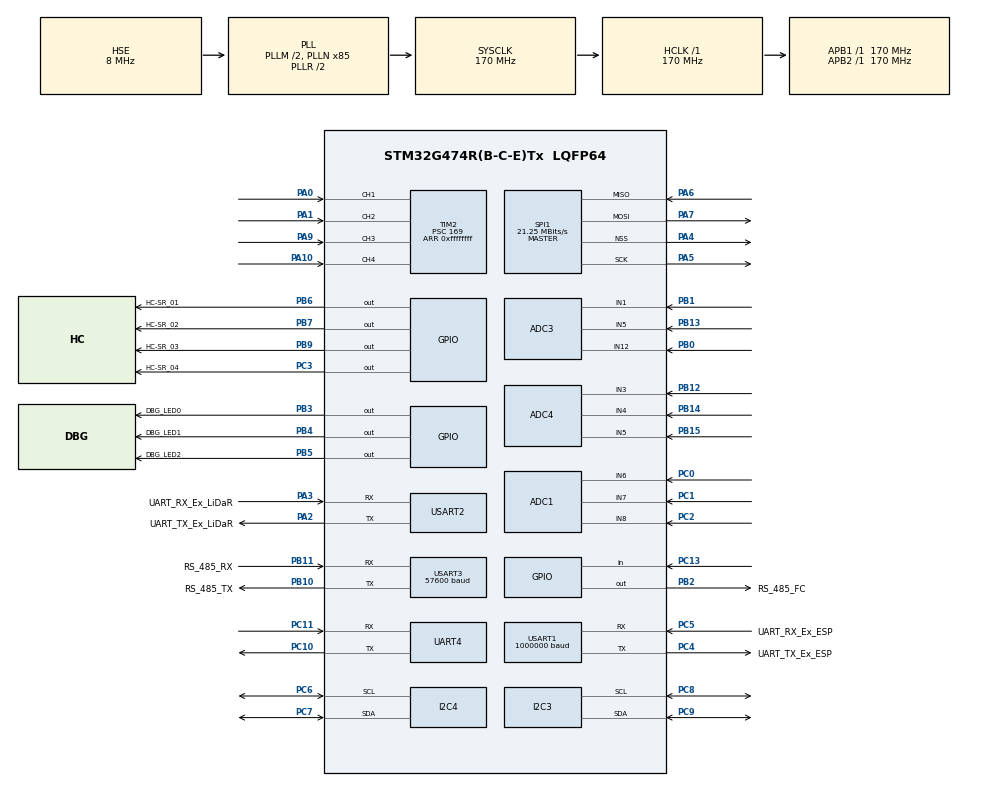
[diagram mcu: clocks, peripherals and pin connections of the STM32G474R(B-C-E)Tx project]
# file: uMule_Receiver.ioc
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ADC1.Channel-0\#ChannelRegularConversion=ADC_CHANNEL_6
ADC1.Channel-1\#ChannelRegularConversion=ADC_CHANNEL_7
ADC1.Channel-2\#ChannelRegularConversion=ADC_CHANNEL_8
ADC1.ClockPrescaler=ADC_CLOCK_SYNC_PCLK_DIV4
ADC1.ContinuousConvMode=DISABLE
ADC1.DMAContinuousRequests=ENABLE
ADC1.EOCSelection=ADC_EOC_SINGLE_CONV
ADC1.EnableInjectedConversion=DISABLE
ADC1.ExternalTrigConv=ADC_EXTERNALTRIG_T3_TRGO
ADC1.NbrOfConversion=3
ADC1.NbrOfConversionFlag=1
ADC1.OffsetNumber-0\#ChannelRegularConversion=ADC_OFFSET_NONE
ADC1.OffsetNumber-1\#ChannelRegularConversion=ADC_OFFSET_NONE
ADC1.OffsetNumber-2\#ChannelRegularConversion=ADC_OFFSET_NONE
ADC1.Rank-0\#ChannelRegularConversion=1
ADC1.Rank-1\#ChannelRegularConversion=2
ADC1.Rank-2\#ChannelRegularConversion=3
ADC1.SamplingTime-0\#ChannelRegularConversion=ADC_SAMPLETIME_2CYCLES_5
ADC1.SamplingTime-1\#ChannelRegularConversion=ADC_SAMPLETIME_2CYCLES_5
ADC1.SamplingTime-2\#ChannelRegularConversion=ADC_SAMPLETIME_2CYCLES_5
ADC1.master=1
ADC3.Channel-1\#ChannelRegularConversion=ADC_CHANNEL_1
ADC3.Channel-2\#ChannelRegularConversion=ADC_CHANNEL_5
ADC3.Channel-3\#ChannelRegularConversion=ADC_CHANNEL_12
ADC3.ClockPrescaler=ADC_CLOCK_SYNC_PCLK_DIV4
ADC3.DMAContinuousRequests=ENABLE
ADC3.ExternalTrigConv=ADC_EXTERNALTRIG_T3_TRGO
ADC3.NbrOfConversion=3
ADC3.NbrOfConversionFlag=1
ADC3.OffsetNumber-1\#ChannelRegularConversion=ADC_OFFSET_NONE
ADC3.OffsetNumber-2\#ChannelRegularConversion=ADC_OFFSET_NONE
ADC3.OffsetNumber-3\#ChannelRegularConversion=ADC_OFFSET_NONE
ADC3.Rank-1\#ChannelRegularConversion=1
ADC3.Rank-2\#ChannelRegularConversion=2
ADC3.Rank-3\#ChannelRegularConversion=3
ADC3.SamplingTime-1\#ChannelRegularConversion=ADC_SAMPLETIME_2CYCLES_5
ADC3.SamplingTime-2\#ChannelRegularConversion=ADC_SAMPLETIME_2CYCLES_5
ADC3.SamplingTime-3\#ChannelRegularConversion=ADC_SAMPLETIME_2CYCLES_5
ADC3.master=1
ADC4.Channel-0\#ChannelRegularConversion=ADC_CHANNEL_3
ADC4.Channel-1\#ChannelRegularConversion=ADC_CHANNEL_4
ADC4.Channel-2\#ChannelRegularConversion=ADC_CHANNEL_5
ADC4.ClockPrescaler=ADC_CLOCK_SYNC_PCLK_DIV4
ADC4.DMAContinuousRequests=ENABLE
ADC4.NbrOfConversion=3
ADC4.NbrOfConversionFlag=1
ADC4.OffsetNumber-0\#ChannelRegularConversion=ADC_OFFSET_NONE
ADC4.OffsetNumber-1\#ChannelRegularConversion=ADC_OFFSET_NONE
ADC4.OffsetNumber-2\#ChannelRegularConversion=ADC_OFFSET_NONE
ADC4.Rank-0\#ChannelRegularConversion=1
ADC4.Rank-1\#ChannelRegularConversion=2
ADC4.Rank-2\#ChannelRegularConversion=3
ADC4.SamplingTime-0\#ChannelRegularConversion=ADC_SAMPLETIME_2CYCLES_5
ADC4.SamplingTime-1\#ChannelRegularConversion=ADC_SAMPLETIME_2CYCLES_5
ADC4.SamplingTime-2\#ChannelRegularConversion=ADC_SAMPLETIME_2CYCLES_5
Dma.ADC1.0.Direction=DMA_PERIPH_TO_MEMORY
Dma.ADC1.0.EventEnable=DISABLE
Dma.ADC1.0.Instance=DMA1_Channel1
Dma.ADC1.0.MemDataAlignment=DMA_MDATAALIGN_HALFWORD
Dma.ADC1.0.MemInc=DMA_MINC_ENABLE
Dma.ADC1.0.Mode=DMA_CIRCULAR
Dma.ADC1.0.PeriphDataAlignment=DMA_PDATAALIGN_HALFWORD
Dma.ADC1.0.PeriphInc=DMA_PINC_DISABLE
Dma.ADC1.0.Polarity=HAL_DMAMUX_REQ_GEN_RISING
Dma.ADC1.0.Priority=DMA_PRIORITY_LOW
Dma.ADC1.0.RequestNumber=1
Dma.ADC1.0.SignalID=NONE
Dma.ADC1.0.SyncEnable=ENABLE
Dma.ADC1.0.SyncPolarity=HAL_DMAMUX_SYNC_RISING
Dma.ADC1.0.SyncRequestNumber=1
Dma.ADC1.0.SyncSignalID=NONE
Dma.ADC3.1.Direction=DMA_PERIPH_TO_MEMORY
Dma.ADC3.1.EventEnable=DISABLE
Dma.ADC3.1.Instance=DMA1_Channel2
Dma.ADC3.1.MemDataAlignment=DMA_MDATAALIGN_HALFWORD
Dma.ADC3.1.MemInc=DMA_MINC_ENABLE
Dma.ADC3.1.Mode=DMA_CIRCULAR
Dma.ADC3.1.PeriphDataAlignment=DMA_PDATAALIGN_HALFWORD
Dma.ADC3.1.PeriphInc=DMA_PINC_DISABLE
Dma.ADC3.1.Polarity=HAL_DMAMUX_REQ_GEN_RISING
Dma.ADC3.1.Priority=DMA_PRIORITY_LOW
Dma.ADC3.1.RequestNumber=1
Dma.ADC3.1.SignalID=NONE
Dma.ADC3.1.SyncEnable=DISABLE
Dma.ADC3.1.SyncPolarity=HAL_DMAMUX_SYNC_NO_EVENT
Dma.ADC3.1.SyncRequestNumber=1
Dma.ADC3.1.SyncSignalID=NONE
Dma.ADC4.2.Direction=DMA_PERIPH_TO_MEMORY
Dma.ADC4.2.EventEnable=DISABLE
Dma.ADC4.2.Instance=DMA1_Channel3
Dma.ADC4.2.MemDataAlignment=DMA_MDATAALIGN_HALFWORD
Dma.ADC4.2.MemInc=DMA_MINC_ENABLE
Dma.ADC4.2.Mode=DMA_CIRCULAR
Dma.ADC4.2.PeriphDataAlignment=DMA_PDATAALIGN_HALFWORD
Dma.ADC4.2.PeriphInc=DMA_PINC_DISABLE
Dma.ADC4.2.Polarity=HAL_DMAMUX_REQ_GEN_RISING
Dma.ADC4.2.Priority=DMA_PRIORITY_LOW
Dma.ADC4.2.RequestNumber=1
Dma.ADC4.2.SignalID=NONE
Dma.ADC4.2.SyncEnable=DISABLE
Dma.ADC4.2.SyncPolarity=HAL_DMAMUX_SYNC_NO_EVENT
Dma.ADC4.2.SyncRequestNumber=1
Dma.ADC4.2.SyncSignalID=NONE
Dma.Request0=ADC1
Dma.Request1=ADC3
Dma.Request2=ADC4
Dma.Request3=USART1_RX
Dma.Request4=USART1_TX
Dma.USART1_RX.3.Direction=DMA_PERIPH_TO_MEMORY
Dma.USART1_RX.3.EventEnable=DISABLE
Dma.USART1_RX.3.Instance=DMA1_Channel4
Dma.USART1_RX.3.MemDataAlignment=DMA_MDATAALIGN_BYTE
Dma.USART1_RX.3.MemInc=DMA_MINC_ENABLE
Dma.USART1_RX.3.Mode=DMA_CIRCULAR
Dma.USART1_RX.3.PeriphDataAlignment=DMA_PDATAALIGN_BYTE
Dma.USART1_RX.3.PeriphInc=DMA_PINC_DISABLE
Dma.USART1_RX.3.Polarity=HAL_DMAMUX_REQ_GEN_RISING
Dma.USART1_RX.3.Priority=DMA_PRIORITY_VERY_HIGH
Dma.USART1_RX.3.RequestNumber=1
Dma.USART1_RX.3.SignalID=NONE
Dma.USART1_RX.3.SyncEnable=DISABLE
Dma.USART1_RX.3.SyncPolarity=HAL_DMAMUX_SYNC_NO_EVENT
Dma.USART1_RX.3.SyncRequestNumber=1
Dma.USART1_RX.3.SyncSignalID=NONE
Dma.USART1_TX.4.Direction=DMA_MEMORY_TO_PERIPH
Dma.USART1_TX.4.EventEnable=DISABLE
Dma.USART1_TX.4.Instance=DMA1_Channel5
Dma.USART1_TX.4.MemDataAlignment=DMA_MDATAALIGN_BYTE
Dma.USART1_TX.4.MemInc=DMA_MINC_ENABLE
Dma.USART1_TX.4.Mode=DMA_NORMAL
Dma.USART1_TX.4.PeriphDataAlignment=DMA_PDATAALIGN_BYTE
Dma.USART1_TX.4.PeriphInc=DMA_PINC_DISABLE
Dma.USART1_TX.4.Polarity=HAL_DMAMUX_REQ_GEN_RISING
Dma.USART1_TX.4.Priority=DMA_PRIORITY_VERY_HIGH
Dma.USART1_TX.4.RequestNumber=1
Dma.USART1_TX.4.SignalID=NONE
Dma.USART1_TX.4.SyncEnable=DISABLE
Dma.USART1_TX.4.SyncPolarity=HAL_DMAMUX_SYNC_NO_EVENT
Dma.USART1_TX.4.SyncRequestNumber=1
Dma.USART1_TX.4.SyncSignalID=NONE
FREERTOS.Tasks01=defaultTask,24,3000,StartDefaultTask,Default,NULL,Static,defaultTaskBuffer,defaultTaskControlBlock
FREERTOS.configENABLE_FPU=1
FREERTOS.configTOTAL_HEAP_SIZE=40000
FREERTOS.configUSE_NEWLIB_REENTRANT=1
I2C3.Timing=0x40B285C2
I2C4.Timing=0x40B285C2
Mcu.Family=STM32G4
Mcu.Name=STM32G474R(B-C-E)Tx
Mcu.Package=LQFP64
NVIC.DMA1_Channel1_IRQn=true\:5\:0\:false\:false\:true\:true\:false\:true\:true
NVIC.DMA1_Channel2_IRQn=true\:5\:0\:false\:false\:true\:true\:false\:true\:true
NVIC.DMA1_Channel3_IRQn=true\:5\:0\:false\:false\:true\:true\:false\:true\:true
NVIC.DMA1_Channel4_IRQn=true\:5\:0\:false\:false\:true\:true\:false\:true\:true
NVIC.DMA1_Channel5_IRQn=true\:5\:0\:false\:false\:true\:true\:false\:true\:true
NVIC.DMAMUX_OVR_IRQn=true\:5\:0\:false\:false\:true\:true\:false\:true\:true
NVIC.PriorityGroup=NVIC_PRIORITYGROUP_4
NVIC.TIM1_UP_TIM16_IRQn=true\:15\:0\:false\:false\:true\:false\:false\:true\:true
NVIC.TIM2_IRQn=true\:5\:0\:false\:false\:true\:true\:true\:true\:true
NVIC.TIM6_DAC_IRQn=true\:5\:0\:false\:false\:true\:true\:true\:true\:true
NVIC.TimeBase=TIM1_UP_TIM16_IRQn
NVIC.TimeBaseIP=TIM1
NVIC.USART1_IRQn=true\:5\:0\:false\:false\:true\:true\:true\:true\:true
NVIC.USART3_IRQn=true\:5\:0\:false\:false\:true\:true\:true\:true\:true
PA0.Signal=S_TIM2_CH1
PA1.Signal=S_TIM2_CH2
PA10.Signal=S_TIM2_CH4
PA2.GPIO_Label=UART_TX_Ex_LiDaR
PA2.Mode=Asynchronous
PA2.Signal=USART2_TX
PA3.GPIO_Label=UART_RX_Ex_LiDaR
PA3.Mode=Asynchronous
PA3.Signal=USART2_RX
PA4.Mode=NSS_Signal_Hard_Output
PA4.Signal=SPI1_NSS
PA5.Mode=Full_Duplex_Master
PA5.Signal=SPI1_SCK
PA6.Mode=Full_Duplex_Master
PA6.Signal=SPI1_MISO
PA7.Mode=Full_Duplex_Master
PA7.Signal=SPI1_MOSI
PA9.Signal=S_TIM2_CH3
PB0.Mode=IN12-Single-Ended
PB0.Signal=ADC3_IN12
PB1.Mode=IN1-Single-Ended
PB1.Signal=ADC3_IN1
PB10.GPIO_Label=RS_485_TX
PB10.Mode=Asynchronous
PB10.Signal=USART3_TX
PB11.GPIO_Label=RS_485_RX
PB11.Mode=Asynchronous
PB11.Signal=USART3_RX
PB12.Mode=IN3-Single-Ended
PB12.Signal=ADC4_IN3
PB13.Mode=IN5-Single-Ended
PB13.Signal=ADC3_IN5
PB14.Mode=IN4-Single-Ended
PB14.Signal=ADC4_IN4
PB15.Mode=IN5-Single-Ended
PB15.Signal=ADC4_IN5
PB2.GPIO_Label=RS_485_FC
PB2.GPIO_PuPd=GPIO_PULLUP
PB2.GPIO_Speed=GPIO_SPEED_FREQ_HIGH
PB2.Signal=GPIO_Output
PB3.GPIO_Label=DBG_LED0
PB3.Signal=GPIO_Output
PB4.GPIO_Label=DBG_LED1
PB4.Signal=GPIO_Output
PB5.GPIO_Label=DBG_LED2
PB5.Signal=GPIO_Output
PB6.GPIO_Label=HC-SR_01
PB6.Signal=GPIO_Output
PB7.GPIO_Label=HC-SR_02
PB7.Signal=GPIO_Output
PB9.GPIO_Label=HC-SR_03
PB9.Signal=GPIO_Output
PC0.Mode=IN6-Single-Ended
PC0.Signal=ADC1_IN6
PC1.Mode=IN7-Single-Ended
PC1.Signal=ADC1_IN7
PC10.Mode=Asynchronous
PC10.Signal=UART4_TX
PC11.Mode=Asynchronous
PC11.Signal=UART4_RX
PC13.Signal=GPIO_Input
PC2.Mode=IN8-Single-Ended
PC2.Signal=ADC1_IN8
PC3.GPIO_Label=HC-SR_04
PC3.Signal=GPIO_Output
PC4.GPIO_Label=UART_TX_Ex_ESP
PC4.Mode=Asynchronous
PC4.Signal=USART1_TX
PC5.GPIO_Label=UART_RX_Ex_ESP
PC5.Mode=Asynchronous
PC5.Signal=USART1_RX
PC6.Mode=I2C
PC6.Signal=I2C4_SCL
PC7.Mode=I2C
PC7.Signal=I2C4_SDA
PC8.Mode=I2C
PC8.Signal=I2C3_SCL
PC9.Mode=I2C
PC9.Signal=I2C3_SDA
PF0-OSC_IN.Mode=HSE-External-Oscillator
PF0-OSC_IN.Signal=RCC_OSC_IN
PF1-OSC_OUT.Mode=HSE-External-Oscillator
PF1-OSC_OUT.Signal=RCC_OSC_OUT
ProjectManager.HeapSize=0x200
ProjectManager.StackSize=0x400
ProjectManager.TargetToolchain=STM32CubeIDE
RCC.ADC12Freq_Value=170000000
RCC.ADC345Freq_Value=170000000
RCC.AHBFreq_Value=170000000
RCC.APB1Freq_Value=170000000
RCC.APB1TimFreq_Value=170000000
RCC.APB2Freq_Value=170000000
RCC.APB2TimFreq_Value=170000000
RCC.CortexFreq_Value=170000000
RCC.EXTERNAL_CLOCK_VALUE=12288000
RCC.HCLKFreq_Value=170000000
RCC.HSE_VALUE=8000000
RCC.HSI48_VALUE=48000000
RCC.HSI_VALUE=16000000
RCC.LSE_VALUE=32768
RCC.PLLM=RCC_PLLM_DIV2
RCC.PLLN=85
RCC.PLLSourceVirtual=RCC_PLLSOURCE_HSE
RCC.SYSCLKFreq_VALUE=170000000
RCC.SYSCLKSource=RCC_SYSCLKSOURCE_PLLCLK
RCC.USBFreq_Value=170000000
RCC.VCOOutputFreq_Value=340000000
SH.S_TIM2_CH1.0=TIM2_CH1,Input_Capture1_from_TI1
SH.S_TIM2_CH2.0=TIM2_CH2,Input_Capture2_from_TI2
SH.S_TIM2_CH3.0=TIM2_CH3,Input_Capture3_from_TI3
SH.S_TIM2_CH4.0=TIM2_CH4,Input_Capture4_from_TI4
SPI1.BaudRatePrescaler=SPI_BAUDRATEPRESCALER_8
SPI1.CalculateBaudRate=21.25 MBits/s
SPI1.Direction=SPI_DIRECTION_2LINES
SPI1.Mode=SPI_MODE_MASTER
SPI1.VirtualNSS=VM_NSSHARD
SPI1.VirtualType=VM_MASTER
TIM2.Channel-Input_Capture1_from_TI1=TIM_CHANNEL_1
TIM2.Channel-Input_Capture2_from_TI2=TIM_CHANNEL_2
TIM2.Channel-Input_Capture3_from_TI3=TIM_CHANNEL_3
TIM2.Channel-Input_Capture4_from_TI4=TIM_CHANNEL_4
TIM2.PeriodNoDither=0xffffffff
TIM2.Prescaler=169
TIM2.TIM_MasterOutputTrigger=TIM_TRGO_UPDATE
TIM3.Channel-PWM\ Generation1\ No\ Output=TIM_CHANNEL_1
TIM3.PeriodNoDither=100
TIM3.Prescaler=0
TIM3.TIM_MasterOutputTrigger=TIM_TRGO_UPDATE
TIM6.PeriodNoDither=9
TIM6.Prescaler=169
TIM6.TIM_MasterOutputTrigger=TIM_TRGO_UPDATE
USART1.BaudRate=1000000
USART1.VirtualMode-Asynchronous=VM_ASYNC
USART2.VirtualMode-Asynchronous=VM_ASYNC
USART3.BaudRate=57600
USART3.VirtualMode-Asynchronous=VM_ASYNC
VP_FREERTOS_VS_CMSIS_V2.Mode=CMSIS_V2
VP_SYS_VS_DBSignals.Mode=DisableDeadBatterySignals
VP_SYS_VS_tim1.Mode=TIM1
VP_TIM2_VS_ClockSourceINT.Mode=Internal
VP_TIM3_VS_ClockSourceINT.Mode=Internal
VP_TIM3_VS_no_output1.Mode=PWM Generation1 No Output
VP_TIM6_VS_ClockSourceINT.Mode=Enable_Timer
VP_TIM6_VS_OPM.Mode=OPM_bit
board=custom

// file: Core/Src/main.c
/* USER CODE BEGIN Header */
/**
  ******************************************************************************
  * @file           : main.c
  * @brief          : Main program body
  ******************************************************************************
  * @attention
  *
  * Copyright (c) 2026 STMicroelectronics.
  * All rights reserved.
  *
  * This software is licensed under terms that can be found in the LICENSE file
  * in the root directory of this software component.
  * If no LICENSE file comes with this software, it is provided AS-IS.
  *
  ******************************************************************************
  */
/* USER CODE END Header */
#include "main.h"
#include "cmsis_os.h"
#include "adc.h"
#include "dma.h"
#include "i2c.h"
#include "spi.h"
#include "tim.h"
#include "usart.h"
#include "gpio.h"

/* USER CODE BEGIN Includes */
#define ARM_MATH_CM4
#include <stdio.h>
#include <string.h>
#include "arm_math.h"
#include "sonar_task.h"   /* Sonar_IC_Callback, Sonar_PeriodElapsed_Callback */

/* USER CODE END Includes */

void SystemClock_Config(void);
void MX_FREERTOS_Init(void);
/* USER CODE BEGIN PFP */
void UART4_Print(uint8_t* Message);
/* USER CODE END PFP */

/* USER CODE BEGIN 0 */

int __io_putchar(int ch)
{
  if (ch == '\n') {
    __io_putchar('\r');
  }
  HAL_UART_Transmit(&huart4, (uint8_t*)&ch, 1, 10);
  return 1;
}

/* USER CODE END 0 */

int main(void)
{

  /* MCU Configuration--------------------------------------------------------*/

  /* Reset of all peripherals, Initializes the Flash interface and the Systick. */
  HAL_Init();

  /* Configure the system clock */
  SystemClock_Config();

  /* Initialize all configured peripherals */
  MX_GPIO_Init();
  MX_DMA_Init();
  MX_ADC1_Init();
  MX_ADC3_Init();
  MX_ADC4_Init();
  MX_I2C3_Init();
  MX_I2C4_Init();
  MX_SPI1_Init();
  MX_UART4_Init();
  MX_USART1_UART_Init();
  MX_USART2_UART_Init();
  MX_USART3_UART_Init();
  MX_TIM3_Init();
  MX_TIM2_Init();
  MX_TIM6_Init();
  /* USER CODE BEGIN 2 */

  UART4_Print((uint8_t*)"Peripherals OK. Starting RTOS...\n");

  /* USER CODE END 2 */

  /* Init scheduler */
  osKernelInitialize();  /* Call init function for freertos objects (in cmsis_os2.c) */
  MX_FREERTOS_Init();

  /* Start scheduler */
  osKernelStart();

  /* We should never get here as control is now taken by the scheduler */

  /* Infinite loop */
  while (1)
  {

  }
}

void SystemClock_Config(void)
{
  RCC_OscInitTypeDef RCC_OscInitStruct = {0};
  RCC_ClkInitTypeDef RCC_ClkInitStruct = {0};

  /** Configure the main internal regulator output voltage
  */
  HAL_PWREx_ControlVoltageScaling(PWR_REGULATOR_VOLTAGE_SCALE1_BOOST);

  /** Initializes the RCC Oscillators according to the specified parameters
  * in the RCC_OscInitTypeDef structure.
  */
  RCC_OscInitStruct.OscillatorType = RCC_OSCILLATORTYPE_HSE;
  RCC_OscInitStruct.HSEState = RCC_HSE_ON;
  RCC_OscInitStruct.PLL.PLLState = RCC_PLL_ON;
  RCC_OscInitStruct.PLL.PLLSource = RCC_PLLSOURCE_HSE;
  RCC_OscInitStruct.PLL.PLLM = RCC_PLLM_DIV2;
  RCC_OscInitStruct.PLL.PLLN = 85;
  RCC_OscInitStruct.PLL.PLLP = RCC_PLLP_DIV2;
  RCC_OscInitStruct.PLL.PLLQ = RCC_PLLQ_DIV2;
  RCC_OscInitStruct.PLL.PLLR = RCC_PLLR_DIV2;
  if (HAL_RCC_OscConfig(&RCC_OscInitStruct) != HAL_OK)
  {
    Error_Handler();
  }

  /** Initializes the CPU, AHB and APB buses clocks
  */
  RCC_ClkInitStruct.ClockType = RCC_CLOCKTYPE_HCLK|RCC_CLOCKTYPE_SYSCLK
                              |RCC_CLOCKTYPE_PCLK1|RCC_CLOCKTYPE_PCLK2;
  RCC_ClkInitStruct.SYSCLKSource = RCC_SYSCLKSOURCE_PLLCLK;
  RCC_ClkInitStruct.AHBCLKDivider = RCC_SYSCLK_DIV1;
  RCC_ClkInitStruct.APB1CLKDivider = RCC_HCLK_DIV1;
  RCC_ClkInitStruct.APB2CLKDivider = RCC_HCLK_DIV1;

  if (HAL_RCC_ClockConfig(&RCC_ClkInitStruct, FLASH_LATENCY_4) != HAL_OK)
  {
    Error_Handler();
  }
}

/* USER CODE BEGIN 4 */

void UART4_Print(uint8_t* Message)
{
	HAL_UART_Transmit(&huart4, Message, strlen((char*)Message), 100);
}

/* USER CODE BEGIN 4 */
void HAL_TIM_IC_CaptureCallback(TIM_HandleTypeDef *htim)
{
    Sonar_IC_Callback(htim, htim->Channel);
}
/* USER CODE END 4 */

void HAL_TIM_PeriodElapsedCallback(TIM_HandleTypeDef *htim)
{
  if (htim->Instance == TIM1)
  {
    HAL_IncTick();
  }
  /* USER CODE BEGIN Callback 1 */
  Sonar_PeriodElapsed_Callback(htim);
  /* USER CODE END Callback 1 */
}

void Error_Handler(void)
{
  __disable_irq();
  while (1)
  {
  }
}

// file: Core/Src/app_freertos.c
/* app_freertos.c
 *
 * micro-ROS task:
 * - Subskrybuje /wheel_commands (sensor_msgs/JointState) od topic_based_ros2_control
 * - Wysyla komendy predkosci do Dynamixeli przez kolejke FreeRTOS
 * - Publikuje /wheel_states (sensor_msgs/JointState) co ~100ms
 *
 * Kolejnosc jointow: [0]=left_wheel_joint, [1]=right_wheel_joint
 */

#include "FreeRTOS.h"
#include "task.h"
#include "main.h"
#include "cmsis_os.h"
#include "cmsis_os2.h"   /* osStaticThreadDef_t i pozostale typy CMSIS-RTOS v2 ze static allocation */

#include <stdbool.h>
#include <string.h>
#include <math.h>

#include <rcl/rcl.h>
#include <rcl/error_handling.h>
#include <rclc/rclc.h>
#include <rclc/executor.h>
#include <uxr/client/transport.h>
#include <rmw_microxrcedds_c/config.h>
#include <rmw_microros/rmw_microros.h>

#include <sensor_msgs/msg/joint_state.h>
#include <sensor_msgs/msg/imu.h>
#include <sensor_msgs/msg/magnetic_field.h>
#include <sensor_msgs/msg/range.h>
#include <std_msgs/msg/float32_multi_array.h>

#include "usart.h"
#include "dxl_control.h"
#include "imu_task.h"
#include "ina219_task.h"
#include "sonar_task.h"

// ---------------------------------------------------------------------------
// KONFIGURACJA SIECI
// ROS_DOMAIN_ID - musi byc identyczne jak na komputerze hosta (export ROS_DOMAIN_ID=...)
// ---------------------------------------------------------------------------
#ifndef ROS_DOMAIN_ID
#define ROS_DOMAIN_ID   0       // <-- zmien na wartosc z `echo $ROS_DOMAIN_ID` na PC
#endif

// ---------------------------------------------------------------------------
// Parametry kinematyki robota
// Musza byc IDENTYCZNE z my_controllers.yaml i ros2_control.xacro
// ---------------------------------------------------------------------------
#define WHEEL_SEPARATION_M   0.30f
#define WHEEL_RADIUS_M       0.08f
#define MAX_RPM              97.0f
#define RPM_TO_RAD_S         (2.0f * 3.14159265f / 60.0f)
#define MAX_WHEEL_RAD_S      (MAX_RPM * RPM_TO_RAD_S)   // ~11.94 rad/s
#define DXL_UNIT_TO_RAD_S   (0.111f * RPM_TO_RAD_S)     // 1 unit RX-64 = 0.111 RPM -> rad/s
#define DEG_TO_RAD           (3.14159265f / 180.0f)

static inline float clamp(float v, float lo, float hi) {
    return (v < lo) ? lo : (v > hi) ? hi : v;
}

// ---------------------------------------------------------------------------
// Statyczna alokacja wiadomosci JointState
// WAZNE: micro-ROS na embedded wymaga statycznej alokacji wszystkich buforow,
// bez tego rcl_publish/take moze hardfaultowac przy serializacji
// ---------------------------------------------------------------------------

/* --- SUBSCRIBER: /wheel_commands --- */
static sensor_msgs__msg__JointState      wheel_cmd_msg;
static rosidl_runtime_c__String          cmd_name_data[2];
static char                              cmd_name0_buf[32]      = "left_wheel_joint";
static char                              cmd_name1_buf[32]      = "right_wheel_joint";
static char                              cmd_frame_id_buf[32]   = {0};
static double                            cmd_position[2]   = {0.0, 0.0};
static double                            cmd_velocity[2]   = {0.0, 0.0};
static double                            cmd_effort[2]     = {0.0, 0.0};

/* --- PUBLISHER: /wheel_states --- */
static sensor_msgs__msg__JointState      wheel_state_msg;
static rosidl_runtime_c__String          state_name_data[2];
static char                              state_name0_buf[32]    = "left_wheel_joint";
static char                              state_name1_buf[32]    = "right_wheel_joint";
static char                              state_frame_id_buf[32] = "base_link";
static double                            state_position[2]   = {0.0, 0.0};
static double                            state_velocity[2]   = {0.0, 0.0};
static double                            state_effort[2]     = {0.0, 0.0};

/* --- PUBLISHER: /imu (sensor_msgs/Imu — accel + gyro z LSM6DS3TR-C) --- */
static sensor_msgs__msg__Imu             imu_msg;
static char                              imu_frame_id_buf[16] = "imu_link";

/* --- PUBLISHER: /mag (sensor_msgs/MagneticField — magnetometr LIS3MDL) ---
 * sensor_msgs/Imu nie zawiera pola magnetometru, dlatego mag = osobny topic. */
static sensor_msgs__msg__MagneticField   mag_msg;
static char                              mag_frame_id_buf[16] = "imu_link";

/* --- PUBLISHER: /power (std_msgs/Float32MultiArray — INA219) ---
 * data[0]=voltage_V, data[1]=current_A, data[2]=power_W */
static std_msgs__msg__Float32MultiArray  power_msg;
static float                             power_data_buf[3]   = {0.0f, 0.0f, 0.0f};

/* --- PUBLISHER: /STM_sonar_N (sensor_msgs/Range — HC-SR04 × 4) ---
 * Jeden publisher na sensor; NaN w range.range oznacza brak echa.
 * min_range=0.02 m, max_range=4.0 m, field_of_view~15° (spec HC-SR04) */
static sensor_msgs__msg__Range           sonar_msg[SONAR_COUNT];
static char sonar_frame_id_buf[SONAR_COUNT][16] = {
    "sonar_0", "sonar_1", "sonar_2", "sonar_3"
};

// ---------------------------------------------------------------------------
// Hooki wymagane przez configSUPPORT_STATIC_ALLOCATION = 1
// ---------------------------------------------------------------------------
void vApplicationGetIdleTaskMemory(StaticTask_t **ppxIdleTaskTCBBuffer,
                                   StackType_t **ppxIdleTaskStackBuffer,
                                   uint32_t *pulIdleTaskStackSize)
{
    static StaticTask_t xIdleTaskTCB;
    static StackType_t  uxIdleTaskStack[configMINIMAL_STACK_SIZE];
    *ppxIdleTaskTCBBuffer   = &xIdleTaskTCB;
    *ppxIdleTaskStackBuffer = uxIdleTaskStack;
    *pulIdleTaskStackSize   = configMINIMAL_STACK_SIZE;
}

void vApplicationGetTimerTaskMemory(StaticTask_t **ppxTimerTaskTCBBuffer,
                                    StackType_t **ppxTimerTaskStackBuffer,
                                    uint32_t *pulTimerTaskStackSize)
{
    static StaticTask_t xTimerTaskTCB;
    static StackType_t  uxTimerTaskStack[configTIMER_TASK_STACK_DEPTH];
    *ppxTimerTaskTCBBuffer   = &xTimerTaskTCB;
    *ppxTimerTaskStackBuffer = uxTimerTaskStack;
    *pulTimerTaskStackSize   = configTIMER_TASK_STACK_DEPTH;
}

// ---------------------------------------------------------------------------
// Pomocnicza inicjalizacja JointState
// Ustawia wszystkie pola sekwencji ORAZ header (frame_id i stamp).
// Bez inicjalizacji header.frame_id micro-ROS przy serializacji moze siegnac
// po niezainicjalizowany wskaznik => HardFault.
// ---------------------------------------------------------------------------
static void joint_state_msg_init(
    sensor_msgs__msg__JointState *msg,
    rosidl_runtime_c__String     *names,
    char *name0, char *name1,
    char *frame_id_buf, size_t frame_id_cap,
    double *pos, double *vel, double *eff)
{
    /* header */
    msg->header.frame_id.data     = frame_id_buf;
    msg->header.frame_id.size     = (frame_id_buf && frame_id_buf[0]) ? strlen(frame_id_buf) : 0;
    msg->header.frame_id.capacity = frame_id_cap;
    msg->header.stamp.sec     = 0;
    msg->header.stamp.nanosec = 0;

    /* names */
    names[0].data     = name0;
    names[0].size     = strlen(name0);
    names[0].capacity = 32;
    names[1].data     = name1;
    names[1].size     = strlen(name1);
    names[1].capacity = 32;
    msg->name.data     = names;
    msg->name.size     = 2;
    msg->name.capacity = 2;

    /* position / velocity / effort */
    msg->position.data     = pos;
    msg->position.size     = 2;
    msg->position.capacity = 2;

    msg->velocity.data     = vel;
    msg->velocity.size     = 2;
    msg->velocity.capacity = 2;

    msg->effort.data     = eff;
    msg->effort.size     = 2;
    msg->effort.capacity = 2;
}

// ---------------------------------------------------------------------------
// Callback /wheel_commands
// topic_based_ros2_control wysyla velocity w rad/s
// Kolejnosc: [0]=left_wheel_joint, [1]=right_wheel_joint
// ---------------------------------------------------------------------------
static void wheel_cmd_callback(const void *msgin)
{
    const sensor_msgs__msg__JointState *msg =
        (const sensor_msgs__msg__JointState *)msgin;

    if (msg->velocity.size < 2) return;

    float v_left_rad_s  = (float)msg->velocity.data[0];
    float v_right_rad_s = (float)msg->velocity.data[1];

    /* rad/s -> speed_pct [-100, 100] */
    float pct_left  = clamp(v_left_rad_s  / MAX_WHEEL_RAD_S * 100.0f, -100.0f, 100.0f);
    float pct_right = clamp(v_right_rad_s / MAX_WHEEL_RAD_S * 100.0f, -100.0f, 100.0f);

    DXL_RosCommand_t cmd;

    cmd.id = ID_LEFT_WHEEL;
    cmd.speed_pct = pct_left;
    osMessageQueuePut(dxl_cmd_queue, &cmd, 0, 0);

    cmd.id = ID_RIGHT_WHEEL;
    cmd.speed_pct = pct_right;
    osMessageQueuePut(dxl_cmd_queue, &cmd, 0, 0);
}

// ---------------------------------------------------------------------------
// Makra obslugi bledow
// RCCHECK     - blad krytyczny podczas (re)inicjalizacji: ustawia flage init_ok
// RCSOFTCHECK - blad miekki (np. publish), tylko inkrementuje licznik bledow
// ---------------------------------------------------------------------------
static volatile uint32_t soft_error_count = 0;

#define RCCHECK(fn) {                                           \
    rcl_ret_t _rc = (fn);                                       \
    if (_rc != RCL_RET_OK) { init_ok = false; }                 \
}

#define RCSOFTCHECK(fn) {                                       \
    rcl_ret_t _rc = (fn);                                       \
    if (_rc != RCL_RET_OK) { soft_error_count++; }              \
}

// ---------------------------------------------------------------------------
// Uchwyty encji micro-ROS — zbiorcza struktura dla create/destroy
// ---------------------------------------------------------------------------
typedef struct {
    rclc_support_t      support;
    rcl_node_t          node;
    rcl_publisher_t     wheel_pub;
    rcl_publisher_t     imu_pub;
    rcl_publisher_t     mag_pub;
    rcl_publisher_t     power_pub;
    rcl_publisher_t     sonar_pub[SONAR_COUNT];
    rcl_subscription_t  wheel_cmd_sub;
    rclc_executor_t     executor;
} RosEntities_t;

static RosEntities_t ros_ent;

// ---------------------------------------------------------------------------
// Pomocnik: wyslij zerowa predkosc do obu kol (bezpieczenstwo przy utracie polaczenia)
// ---------------------------------------------------------------------------
static void dxl_stop_all(void)
{
    DXL_RosCommand_t stop = {0};
    stop.id = ID_LEFT_WHEEL;  stop.speed_pct = 0.0f;
    osMessageQueuePut(dxl_cmd_queue, &stop, 0, 0);
    stop.id = ID_RIGHT_WHEEL;
    osMessageQueuePut(dxl_cmd_queue, &stop, 0, 0);
}

// ---------------------------------------------------------------------------
// Tworzenie wszystkich encji micro-ROS (wywolywane po kazdym (re)polaczeniu)
// Zwraca true jesli wszystko OK.
// ---------------------------------------------------------------------------
static bool ros_create_entities(rcl_allocator_t *allocator)
{
    bool init_ok = true;

    /* Support — kazdý krok inicjalizowany oddzielnie, by nie wywolywac fini na
     * niezainicjalizowanej strukturze i nie isc dalej po bledzie. */
    rcl_init_options_t init_options = rcl_get_zero_initialized_init_options();
    if (rcl_init_options_init(&init_options, *allocator) != RCL_RET_OK) return false;
    if (rcl_init_options_set_domain_id(&init_options, (size_t)ROS_DOMAIN_ID) != RCL_RET_OK) {
        rcl_init_options_fini(&init_options);
        return false;
    }
    bool support_ok = (rclc_support_init_with_options(
        &ros_ent.support, 0, NULL, &init_options, allocator) == RCL_RET_OK);
    rcl_init_options_fini(&init_options);
    if (!support_ok) return false;

    (void)rmw_uros_sync_session(1000);

    RCCHECK(rclc_node_init_default(&ros_ent.node, "stm32_robot_node", "", &ros_ent.support));
    /* Wczesny powrot: publishery nie moga byc inicjalizowane na nieprawidlowym nodzie */
    if (!init_ok) { rclc_support_fini(&ros_ent.support); return false; }

    /* Inicjalizacja buforow wiadomosci (wskazniki na statyczne bufory) */
    joint_state_msg_init(&wheel_cmd_msg,
        cmd_name_data, cmd_name0_buf, cmd_name1_buf,
        cmd_frame_id_buf, sizeof(cmd_frame_id_buf),
        cmd_position, cmd_velocity, cmd_effort);

    joint_state_msg_init(&wheel_state_msg,
        state_name_data, state_name0_buf, state_name1_buf,
        state_frame_id_buf, sizeof(state_frame_id_buf),
        state_position, state_velocity, state_effort);

    memset(&imu_msg, 0, sizeof(imu_msg));
    imu_msg.header.frame_id.data     = imu_frame_id_buf;
    imu_msg.header.frame_id.size     = strlen(imu_frame_id_buf);
    imu_msg.header.frame_id.capacity = sizeof(imu_frame_id_buf);
    imu_msg.orientation_covariance[0] = -1.0;
    imu_msg.angular_velocity_covariance[0] = 5.1e-7f;
    imu_msg.angular_velocity_covariance[4] = 5.1e-7f;
    imu_msg.angular_velocity_covariance[8] = 5.1e-7f;
    imu_msg.linear_acceleration_covariance[0] = 8.1e-5f;
    imu_msg.linear_acceleration_covariance[4] = 8.1e-5f;
    imu_msg.linear_acceleration_covariance[8] = 8.1e-5f;

    memset(&mag_msg, 0, sizeof(mag_msg));
    mag_msg.header.frame_id.data     = mag_frame_id_buf;
    mag_msg.header.frame_id.size     = strlen(mag_frame_id_buf);
    mag_msg.header.frame_id.capacity = sizeof(mag_frame_id_buf);

    memset(&power_msg, 0, sizeof(power_msg));
    power_msg.data.data     = power_data_buf;
    power_msg.data.size     = 3;
    power_msg.data.capacity = 3;

    for (uint8_t i = 0; i < SONAR_COUNT; i++) {
        memset(&sonar_msg[i], 0, sizeof(sonar_msg[i]));
        sonar_msg[i].header.frame_id.data     = sonar_frame_id_buf[i];
        sonar_msg[i].header.frame_id.size     = strlen(sonar_frame_id_buf[i]);
        sonar_msg[i].header.frame_id.capacity = sizeof(sonar_frame_id_buf[i]);
        sonar_msg[i].radiation_type = sensor_msgs__msg__Range__ULTRASOUND;
        sonar_msg[i].field_of_view  = 0.2618f;
        sonar_msg[i].min_range      = 0.02f;
        sonar_msg[i].max_range      = 4.00f;
        sonar_msg[i].range          = 0.0f;
    }

    /* Publishery */
    RCCHECK(rclc_publisher_init_default(
        &ros_ent.wheel_pub, &ros_ent.node,
        ROSIDL_GET_MSG_TYPE_SUPPORT(sensor_msgs, msg, JointState), "wheel_states"));
    RCCHECK(rclc_publisher_init_best_effort(
        &ros_ent.imu_pub, &ros_ent.node,
        ROSIDL_GET_MSG_TYPE_SUPPORT(sensor_msgs, msg, Imu), "STM_imu"));
    RCCHECK(rclc_publisher_init_best_effort(
        &ros_ent.mag_pub, &ros_ent.node,
        ROSIDL_GET_MSG_TYPE_SUPPORT(sensor_msgs, msg, MagneticField), "STM_mag"));
    RCCHECK(rclc_publisher_init_best_effort(
        &ros_ent.power_pub, &ros_ent.node,
        ROSIDL_GET_MSG_TYPE_SUPPORT(std_msgs, msg, Float32MultiArray), "STM_power"));

    {
        static const char *sonar_topic_names[SONAR_COUNT] = {
            "STM_sonar_0", "STM_sonar_1", "STM_sonar_2", "STM_sonar_3"
        };
        for (uint8_t i = 0; i < SONAR_COUNT; i++) {
            RCCHECK(rclc_publisher_init_best_effort(
                &ros_ent.sonar_pub[i], &ros_ent.node,
                ROSIDL_GET_MSG_TYPE_SUPPORT(sensor_msgs, msg, Range),
                sonar_topic_names[i]));
        }
    }

    /* Subscriber + executor */
    RCCHECK(rclc_subscription_init_default(
        &ros_ent.wheel_cmd_sub, &ros_ent.node,
        ROSIDL_GET_MSG_TYPE_SUPPORT(sensor_msgs, msg, JointState), "wheel_commands"));
    RCCHECK(rclc_executor_init(&ros_ent.executor, &ros_ent.support.context, 1, allocator));
    RCCHECK(rclc_executor_add_subscription(
        &ros_ent.executor, &ros_ent.wheel_cmd_sub, &wheel_cmd_msg,
        wheel_cmd_callback, ON_NEW_DATA));

    return init_ok;
}

// ---------------------------------------------------------------------------
// Niszczenie wszystkich encji micro-ROS (przed reinicjalizacja)
// ---------------------------------------------------------------------------
static void ros_destroy_entities(rcl_allocator_t *allocator)
{
    rclc_executor_fini(&ros_ent.executor);
    rcl_subscription_fini(&ros_ent.wheel_cmd_sub, &ros_ent.node);
    rcl_publisher_fini(&ros_ent.wheel_pub,   &ros_ent.node);
    rcl_publisher_fini(&ros_ent.imu_pub,     &ros_ent.node);
    rcl_publisher_fini(&ros_ent.mag_pub,     &ros_ent.node);
    rcl_publisher_fini(&ros_ent.power_pub,   &ros_ent.node);
    for (uint8_t i = 0; i < SONAR_COUNT; i++)
        rcl_publisher_fini(&ros_ent.sonar_pub[i], &ros_ent.node);
    rcl_node_fini(&ros_ent.node);
    rclc_support_fini(&ros_ent.support);
    (void)allocator;
}

// ---------------------------------------------------------------------------
// Watek micro-ROS — statyczna alokacja stosu i TCB.
// Stack 3000 slow = 12000 bajtow: wystarczajacy dla JointState i sesji XRCE-DDS.
// ---------------------------------------------------------------------------
static uint32_t      defaultTaskBuffer[3000];
static StaticTask_t  defaultTaskControlBlock;

const osThreadAttr_t defaultTask_attributes = {
    .name       = "defaultTask",
    .cb_mem     = &defaultTaskControlBlock,
    .cb_size    = sizeof(defaultTaskControlBlock),
    .stack_mem  = defaultTaskBuffer,
    .stack_size = sizeof(defaultTaskBuffer),  /* 12000 B = 3000 slow */
    .priority   = (osPriority_t) osPriorityNormal,
};
osThreadId_t defaultTaskHandle;

/* Prototypy transportu UART - implementacja w osobnym pliku CubeMX */
bool   cubemx_transport_open (struct uxrCustomTransport *t);
bool   cubemx_transport_close(struct uxrCustomTransport *t);
size_t cubemx_transport_write(struct uxrCustomTransport *t, const uint8_t *buf, size_t len, uint8_t *err);
size_t cubemx_transport_read (struct uxrCustomTransport *t, uint8_t *buf, size_t len, int timeout, uint8_t *err);
void  *microros_allocate     (size_t size, void *state);
void   microros_deallocate   (void *pointer, void *state);
void  *microros_reallocate   (void *pointer, size_t size, void *state);
void  *microros_zero_allocate(size_t n, size_t size, void *state);

void StartDefaultTask(void *argument)
{
    (void)argument;

    /* 1. Transport UART1 — ustawiany raz, nie zmienia sie przy reconnect */
    rmw_uros_set_custom_transport(
        true, (void *)&huart1,
        cubemx_transport_open, cubemx_transport_close,
        cubemx_transport_write, cubemx_transport_read);

    /* 2. Alokator FreeRTOS — rowniez raz */
    rcl_allocator_t freeRTOS_allocator = rcutils_get_zero_initialized_allocator();
    freeRTOS_allocator.allocate      = microros_allocate;
    freeRTOS_allocator.deallocate    = microros_deallocate;
    freeRTOS_allocator.reallocate    = microros_reallocate;
    freeRTOS_allocator.zero_allocate = microros_zero_allocate;
    if (!rcutils_set_default_allocator(&freeRTOS_allocator)) {
        HAL_GPIO_WritePin(GPIOB, GPIO_PIN_4, GPIO_PIN_SET);
        while(1) { osDelay(1000); }
    }

    rcl_allocator_t allocator = rcl_get_default_allocator();

    /* 3. Zewnetrzna petla reconnect — nigdy nie wychodzi */
    for (;;)
    {
        /* 3a. Czekaj na agenta — miga LED GPIO_PIN_3 */
        HAL_GPIO_WritePin(GPIOB, GPIO_PIN_3, GPIO_PIN_RESET);
        while (rmw_uros_ping_agent(100, 1) != RMW_RET_OK) {
            HAL_GPIO_TogglePin(GPIOB, GPIO_PIN_3);
            osDelay(500);
        }

        /* 3b. Tworzenie encji — jesli blad, czekaj i sprobuj ponownie */
        if (!ros_create_entities(&allocator)) {
            osDelay(1000);
            continue;
        }

        HAL_GPIO_WritePin(GPIOB, GPIO_PIN_3, GPIO_PIN_SET); /* Agent polaczony */

        /* 3c. Petla glowna — dziala dopoki agent odpowiada */
        DXL_RosFeedback_t  feedback  = {0};
        IMU_QueueData_t    imu_q     = {0};
        INA219_QueueData_t ina219_q  = {0};
        Sonar_QueueData_t  sonar_q   = {0};
        uint32_t last_pub_tick   = 0;
        uint32_t last_imu_tick   = 0;
        uint32_t last_power_tick = 0;
        uint32_t last_sonar_tick = 0;
        uint32_t last_ping_tick  = 0;

        for (;;)
        {
            rclc_executor_spin_some(&ros_ent.executor, RCL_MS_TO_NS(0));

            osMessageQueueGet(dxl_feedback_queue, &feedback, NULL, 0);
            osMessageQueueGet(imu_data_queue,     &imu_q,    NULL, 0);
            osMessageQueueGet(ina219_data_queue,  &ina219_q, NULL, 0);
            osMessageQueueGet(sonar_data_queue,   &sonar_q,  NULL, 0);

            uint32_t now = osKernelGetTickCount();

            /* Publikacja /wheel_states co 20 ms (~50 Hz) */
            if ((now - last_pub_tick) >= 20)
            {
                last_pub_tick = now;

                state_velocity[0] = -(double)(feedback.data[4] * DXL_UNIT_TO_RAD_S);
                state_velocity[1] =  (double)(feedback.data[1] * DXL_UNIT_TO_RAD_S);
                state_position[0] = -(double)(feedback.data[3] * DEG_TO_RAD);
                state_position[1] =  (double)(feedback.data[0] * DEG_TO_RAD);
                state_effort[0]   = -(double)feedback.data[5];
                state_effort[1]   =  (double)feedback.data[2];

                int64_t time_ns = rmw_uros_epoch_nanos();
                wheel_state_msg.header.stamp.sec     = (int32_t)(time_ns / 1000000000LL);
                wheel_state_msg.header.stamp.nanosec = (uint32_t)(time_ns % 1000000000LL);

                RCSOFTCHECK(rcl_publish(&ros_ent.wheel_pub, &wheel_state_msg, NULL));
            }

            /* Publikacja /STM_imu + /STM_mag co 20 ms (~50 Hz) */
            if ((now - last_imu_tick) >= 20)
            {
                last_imu_tick = now;
                int64_t ts = rmw_uros_epoch_nanos();
                int32_t  ts_sec  = (int32_t)(ts / 1000000000LL);
                uint32_t ts_nsec = (uint32_t)(ts % 1000000000LL);

                imu_msg.header.stamp.sec      = ts_sec;
                imu_msg.header.stamp.nanosec  = ts_nsec;
                imu_msg.angular_velocity.x    = (double)imu_q.gyro_x;
                imu_msg.angular_velocity.y    = (double)imu_q.gyro_y;
                imu_msg.angular_velocity.z    = (double)imu_q.gyro_z;
                imu_msg.linear_acceleration.x = (double)imu_q.accel_x;
                imu_msg.linear_acceleration.y = (double)imu_q.accel_y;
                imu_msg.linear_acceleration.z = (double)imu_q.accel_z;

                if (imu_q.cov_valid) {
                    imu_msg.angular_velocity_covariance[0] = (double)imu_q.var_gx;
                    imu_msg.angular_velocity_covariance[4] = (double)imu_q.var_gy;
                    imu_msg.angular_velocity_covariance[8] = (double)imu_q.var_gz;
                    imu_msg.linear_acceleration_covariance[0] = (double)imu_q.var_ax;
                    imu_msg.linear_acceleration_covariance[4] = (double)imu_q.var_ay;
                    imu_msg.linear_acceleration_covariance[8] = (double)imu_q.var_az;
                }
                RCSOFTCHECK(rcl_publish(&ros_ent.imu_pub, &imu_msg, NULL));

                mag_msg.header.stamp.sec     = ts_sec;
                mag_msg.header.stamp.nanosec = ts_nsec;
                mag_msg.magnetic_field.x     = (double)imu_q.mag_x;
                mag_msg.magnetic_field.y     = (double)imu_q.mag_y;
                mag_msg.magnetic_field.z     = (double)imu_q.mag_z;
                if (imu_q.cov_valid) {
                    mag_msg.magnetic_field_covariance[0] = (double)imu_q.var_mx;
                    mag_msg.magnetic_field_covariance[4] = (double)imu_q.var_my;
                    mag_msg.magnetic_field_covariance[8] = (double)imu_q.var_mz;
                }
                RCSOFTCHECK(rcl_publish(&ros_ent.mag_pub, &mag_msg, NULL));
            }

            /* Publikacja /power co 500 ms */
            if ((now - last_power_tick) >= 500)
            {
                last_power_tick = now;
                power_data_buf[0] = ina219_q.voltage_V;
                power_data_buf[1] = ina219_q.current_A;
                power_data_buf[2] = ina219_q.power_W;
                RCSOFTCHECK(rcl_publish(&ros_ent.power_pub, &power_msg, NULL));
            }

            /* Publikacja /STM_sonar_N co 200 ms */
            if ((now - last_sonar_tick) >= 200)
            {
                last_sonar_tick = now;
                for (uint8_t i = 0; i < SONAR_COUNT; i++) {
                    int64_t ts_ns = (int64_t)sonar_q.timestamp_ms[i] * 1000000LL;
                    sonar_msg[i].header.stamp.sec     = (int32_t)(ts_ns / 1000000000LL);
                    sonar_msg[i].header.stamp.nanosec = (uint32_t)(ts_ns % 1000000000LL);
                    sonar_msg[i].range = sonar_q.distance_m[i];
                    RCSOFTCHECK(rcl_publish(&ros_ent.sonar_pub[i], &sonar_msg[i], NULL));
                }
            }

            /* Ping agenta co 2 s — przy braku odpowiedzi: zatrzymaj silniki i reinit */
            if ((now - last_ping_tick) >= 2000)
            {
                last_ping_tick = now;
                if (rmw_uros_ping_agent(100, 3) != RMW_RET_OK) {
                    /* Utrata polaczenia: zatrzymaj silniki dla bezpieczenstwa */
                    dxl_stop_all();
                    HAL_GPIO_WritePin(GPIOB, GPIO_PIN_3, GPIO_PIN_RESET);
                    break; /* wyjdz z petli wewnetrznej → destroy → reconnect */
                }
            }

            HAL_GPIO_TogglePin(GPIOB, GPIO_PIN_5);
            osDelay(1);
        }

        /* 3d. Niszczenie encji przed ponowna inicjalizacja */
        ros_destroy_entities(&allocator);
        osDelay(500); /* krotka przerwa zanim sprobujemy ping ponownie */
    }
}

// ---------------------------------------------------------------------------
// MX_FREERTOS_Init - wywolywane z main() przed osKernelStart()
// ---------------------------------------------------------------------------
void MX_FREERTOS_Init(void) {
    /* DXL: inicjalizacja sprzetu, kolejki, task */
    DXL_Manager_Init();
    dxl_cmd_queue      = osMessageQueueNew(32, sizeof(DXL_RosCommand_t),  NULL);
    dxl_feedback_queue = osMessageQueueNew(5,  sizeof(DXL_RosFeedback_t), NULL);
    osThreadNew(DXL_Manager_Task, NULL, &dxl_task_attr);

    /* IMU (I2C4): LSM6DS3TR-C + LIS3MDL */
    IMU_Manager_Init();
    imu_data_queue = osMessageQueueNew(2, sizeof(IMU_QueueData_t), NULL);
    osThreadNew(IMU_Manager_Task, NULL, &imu_task_attr);

    /* INA219 (I2C3): czujnik pradu */
    INA219_Manager_Init();
    ina219_data_queue = osMessageQueueNew(2, sizeof(INA219_QueueData_t), NULL);
    osThreadNew(INA219_Manager_Task, NULL, &ina219_task_attr);

    /* HC-SR04 (TIM2 IC + TIM6 seq): czujniki odleglosci */
    Sonar_Manager_Init();
    sonar_data_queue = osMessageQueueNew(2, sizeof(Sonar_QueueData_t), NULL);
    osThreadNew(Sonar_Manager_Task, NULL, &sonar_task_attr);

    /* micro-ROS */
    defaultTaskHandle = osThreadNew(StartDefaultTask, NULL, &defaultTask_attributes);
}
